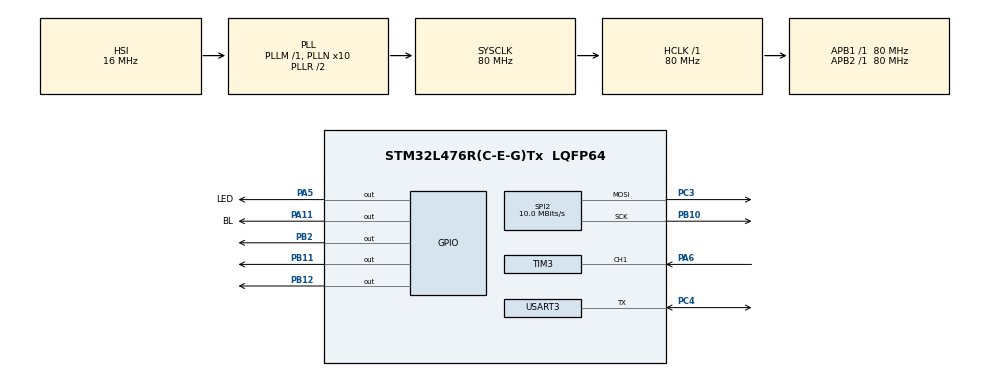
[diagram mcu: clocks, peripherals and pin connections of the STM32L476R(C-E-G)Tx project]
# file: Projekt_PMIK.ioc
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Mcu.Family=STM32L4
Mcu.Name=STM32L476R(C-E-G)Tx
Mcu.Package=LQFP64
NVIC.PriorityGroup=NVIC_PRIORITYGROUP_4
NVIC.RTC_Alarm_IRQn=true\:2\:0\:true\:false\:true\:true\:true\:true
NVIC.RTC_WKUP_IRQn=true\:5\:0\:true\:false\:true\:true\:true\:true
NVIC.TIM3_IRQn=true\:5\:0\:true\:false\:true\:true\:true\:true
PA11.GPIO_Label=BL
PA11.PinState=GPIO_PIN_SET
PA11.Signal=GPIO_Output
PA13\ (JTMS-SWDIO).GPIO_Label=TMS
PA13\ (JTMS-SWDIO).Mode=Serial_Wire
PA13\ (JTMS-SWDIO).Signal=SYS_JTMS-SWDIO
PA14\ (JTCK-SWCLK).GPIO_Label=TCK
PA14\ (JTCK-SWCLK).Mode=Serial_Wire
PA14\ (JTCK-SWCLK).Signal=SYS_JTCK-SWCLK
PA2.GPIO_Label=USART_TX
PA2.GPIO_Mode=GPIO_MODE_AF_PP
PA2.GPIO_ModeDefaultPP=GPIO_MODE_AF_PP
PA2.GPIO_PuPd=GPIO_NOPULL
PA2.GPIO_Speed=GPIO_SPEED_FREQ_VERY_HIGH
PA2.Signal=USART2_TX
PA3.GPIO_Label=USART_RX
PA3.GPIO_Mode=GPIO_MODE_AF_PP
PA3.GPIO_PuPd=GPIO_NOPULL
PA3.GPIO_Speed=GPIO_SPEED_FREQ_VERY_HIGH
PA3.Signal=USART2_RX
PA5.GPIO_Label=LED
PA5.Signal=GPIO_Output
PA6.Signal=S_TIM3_CH1
PB10.Mode=TX_Only_Simplex_Unidirect_Master
PB10.Signal=SPI2_SCK
PB11.Signal=GPIO_Output
PB12.Signal=GPIO_Output
PB2.Signal=GPIO_Output
PC14-OSC32_IN\ (PC14).Mode=LSE-External-Oscillator
PC14-OSC32_IN\ (PC14).Signal=RCC_OSC32_IN
PC15-OSC32_OUT\ (PC15).Mode=LSE-External-Oscillator
PC15-OSC32_OUT\ (PC15).Signal=RCC_OSC32_OUT
PC3.Mode=TX_Only_Simplex_Unidirect_Master
PC3.Signal=SPI2_MOSI
PC4.GPIO_PuPdOD=GPIO_NOPULL
PC4.Mode=Half_duplex(single_wire_mode)
PC4.Signal=USART3_TX
PH0-OSC_IN\ (PH0).Signal=RCC_OSC_IN
PH1-OSC_OUT\ (PH1).Signal=RCC_OSC_OUT
ProjectManager.HeapSize=0x200
ProjectManager.StackSize=0x400
ProjectManager.TargetToolchain=STM32CubeIDE
RCC.ADCFreq_Value=64000000
RCC.AHBFreq_Value=80000000
RCC.APB1Freq_Value=80000000
RCC.APB1TimFreq_Value=80000000
RCC.APB2Freq_Value=80000000
RCC.APB2TimFreq_Value=80000000
RCC.CortexFreq_Value=80000000
RCC.HCLKFreq_Value=80000000
RCC.HSE_VALUE=8000000
RCC.HSI_VALUE=16000000
RCC.MSI_VALUE=4000000
RCC.PLLN=10
RCC.PLLSourceVirtual=RCC_PLLSOURCE_HSI
RCC.PREFETCH_ENABLE=1
RCC.RTCClockSelection=RCC_RTCCLKSOURCE_LSE
RCC.SYSCLKFreq_VALUE=80000000
RCC.SYSCLKSource=RCC_SYSCLKSOURCE_PLLCLK
RCC.USBFreq_Value=64000000
RCC.VCOOutputFreq_Value=160000000
RTC.Alarm-Alarm\ A=RTC_ALARM_A
RTC.Date=1
RTC.Format=RTC_FORMAT_BIN
RTC.Hours=0
RTC.Minutes=0
RTC.Month=RTC_MONTH_JANUARY
RTC.Seconds=0
RTC.WakeUpClock-WakeUp=RTC_WAKEUPCLOCK_CK_SPRE_16BITS
RTC.WakeUpCounter-WakeUp=1
RTC.WeekDay=RTC_WEEKDAY_SUNDAY
RTC.Year=23
SH.S_TIM3_CH1.0=TIM3_CH1,TriggerSource_TI1ED
SH.S_TIM3_CH1.1=TIM3_CH1,Input_Capture1_from_TI1
SPI2.BaudRatePrescaler=SPI_BAUDRATEPRESCALER_8
SPI2.CalculateBaudRate=10.0 MBits/s
SPI2.DataSize=SPI_DATASIZE_8BIT
SPI2.Direction=SPI_DIRECTION_2LINES
SPI2.Mode=SPI_MODE_MASTER
SPI2.NSSPMode=SPI_NSS_PULSE_DISABLE
SPI2.VirtualType=VM_MASTER
TIM3.Channel-Input_Capture1_from_TI1=TIM_CHANNEL_1
TIM3.ICPolarity_CH1=TIM_INPUTCHANNELPOLARITY_FALLING
TIM3.Prescaler=79
USART3.BaudRate=9600
USART3.OverrunDisableParam=ADVFEATURE_OVERRUN_DISABLE
USART3.VirtualMode-Half_duplex(single_wire_mode)=VM_ASYNC
VP_RTC_VS_RTC_Activate.Mode=RTC_Enabled
VP_RTC_VS_RTC_Alarm_A_Intern.Mode=Alarm A
VP_RTC_VS_RTC_Calendar.Mode=RTC_Calendar
VP_RTC_VS_RTC_WakeUp_intern.Mode=WakeUp
VP_TIM3_VS_ClockSourceINT.Mode=Internal
VP_TIM3_VS_ControllerModeReset.Mode=Reset Mode
board=NUCLEO-L476RG

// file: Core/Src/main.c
/* USER CODE BEGIN Header */
/**
  ******************************************************************************
  * @file           : main.c
  * @brief          : Main program body
  ******************************************************************************
  * @attention
  *
  *@author	:	Mateusz Berliński
  *
  *@title	:	Zegar
  *
  *@description:
  *		Tematem projektu jest zegar. W normalnej pracy będzie wyświetlał aktualną godzinę i datę.
  *		Będzie można go przełączyć na wyświetlanie temperatury. Sterowanie odbywa się przez pilot podczerwieni.
  *		Dane pokazywane są na wyswietlaczu tft przy pomocy SPI. Na zegarze można ustawiać date, godzinę i alarmy.
  *		Alarmy włączają brzęczyk, a na ekranie pojawia się komunikat.
  *
  *
  * Copyright (c) 2022 STMicroelectronics.
  * All rights reserved.
  *
  * This software is licensed under terms that can be found in the LICENSE file
  * in the root directory of this software component.
  * If no LICENSE file comes with this software, it is provided AS-IS.
  *
  ******************************************************************************
  */
/* USER CODE END Header */
#include "main.h"
#include "rtc.h"
#include "spi.h"
#include "tim.h"
#include "usart.h"
#include "gpio.h"

/* USER CODE BEGIN Includes */
#include "st7735.h"
#include "fonts.h"
#include <stdio.h>
#include "ir.h"
#include "ds18b20.h"
#include <stdbool.h>
/* USER CODE END Includes */

/* USER CODE BEGIN PTD */
HAL_StatusTypeDef HAL_RTC_GetTime(RTC_HandleTypeDef *hrtc, RTC_TimeTypeDef *sTime, uint32_t Format);
HAL_StatusTypeDef HAL_RTC_GetDate(RTC_HandleTypeDef *hrtc, RTC_DateTypeDef *sDate, uint32_t Format);
HAL_StatusTypeDef HAL_RTC_SetTime(RTC_HandleTypeDef *hrtc, RTC_TimeTypeDef *sTime, uint32_t Format);
HAL_StatusTypeDef HAL_RTC_GetAlarm(RTC_HandleTypeDef *hrtc, RTC_AlarmTypeDef *sAlarm, uint32_t Alarm, uint32_t Format);

/* USER CODE END PTD */

/* USER CODE BEGIN PV */
RTC_TimeTypeDef time;
RTC_DateTypeDef date;
RTC_AlarmTypeDef alarm;
char strTime[20];//przechowuje czas jako tablice char
char strDate[20];//przechowuje date jako tablice char
char strTemp[20];//przechowuje temperature jako tablice char
char strColored[10];//przechowuje zaznaczone wartości jako tablice char
uint8_t Select_write = 0;//wybór danych do wyświetlenia 0-czas, 1-temperatura
bool Enable_change = false;//flaga czy jest zmieniany czas
bool Enable_alarm = false;//flaga czy ustawiany jest alarm
bool Alarm_on = false;//flaga czy włączony jest alarm
RTC_TimeTypeDef new_time = {0};//wartość czasu którą zmieniamy
RTC_DateTypeDef new_date = {0};//data którą zmieniamy
RTC_AlarmTypeDef new_alarm = {0};//alarm który zmieniamy
uint8_t Select_time_date = 0;//wybór wartości czasu 0-godziny, 1-minuty, 2-sekundy, 3-dni, 4-miesiace, 5-lata
uint8_t Select_alarm_time = 0;//wybór wartości alarmu 0-godziny, 1-minuty
uint32_t last_ms = 0;//przechowuje czas z Systick

/* USER CODE END PV */

void SystemClock_Config(void);

/* USER CODE BEGIN 0 */

/**
  * @brief Działanie alarmu
  * @retval None
  */
void Active_alarm(uint8_t remote)
{
	uint32_t now = HAL_GetTick();
	if(now - last_ms >= 100) {
		HAL_GPIO_TogglePin(LED_GPIO_Port, LED_Pin);//Miga dioda
		last_ms = now;
	}

	if(remote == IR_BACK){//Wyłączenie alarmu
		Alarm_on = false;
		HAL_GPIO_WritePin(LED_GPIO_Port, LED_Pin, RESET);
	}

}

void Turn_on_alarm(void)
{
	Alarm_on = true;
}

/**
  * @brief Zapisanie ostatnich wartości zegara
  * @retval None
  */

void Save_last_time(void)
{
	new_time.Hours = time.Hours;
	new_time.Minutes = time.Minutes;
	new_time.Seconds = time.Seconds;
	new_date.Date = date.Date;
	new_date.Month = date.Month;
	new_date.Year = date.Year;
}

/**
  * @brief Przechowuje wartości ustawionego alarmu
  * @retval None
  */

void Save_last_alarm(void)
{
	HAL_RTC_GetAlarm(&hrtc, &alarm, RTC_ALARM_A, RTC_FORMAT_BIN);
	new_alarm.AlarmTime.Hours = alarm.AlarmTime.Hours;
	new_alarm.AlarmTime.Minutes = alarm.AlarmTime.Minutes;
}

/**
  * @brief Zaznacza wybraną wartość zegara
  * @retval None
  */
void Color_Selected(void)
{
	if(Select_time_date == 0){
		sprintf(strColored,"%02d",new_time.Hours);
		ST7735_WriteString(15, 35, strColored, Font_16x26, ST7735_BLACK,ST7735_BLACK);
		ST7735_WriteString(15, 35, strColored, Font_16x26, ST7735_WHITE,ST7735_BLACK);
	}
	else if(Select_time_date == 1){
		sprintf(strColored,"%02d",new_time.Minutes);
		ST7735_WriteString(63, 35, strColored, Font_16x26, ST7735_BLACK,ST7735_BLACK);
		ST7735_WriteString(63, 35, strColored, Font_16x26, ST7735_WHITE,ST7735_BLACK);
	}
	else if(Select_time_date == 2){
		sprintf(strColored,"%02d",new_time.Seconds);
		ST7735_WriteString(111, 35, strColored, Font_16x26, ST7735_BLACK,ST7735_BLACK);
		ST7735_WriteString(111, 35, strColored, Font_16x26, ST7735_WHITE,ST7735_BLACK);
	}
	else if(Select_time_date == 3){
		sprintf(strColored,"%02d",new_date.Date);
		ST7735_WriteString(25, 67, strColored, Font_11x18, ST7735_BLACK,ST7735_BLACK);
		ST7735_WriteString(25, 67, strColored, Font_11x18, ST7735_WHITE,ST7735_BLACK);
	}
	else if(Select_time_date == 4){
		sprintf(strColored,"%02d",new_date.Month);
		ST7735_WriteString(58, 67, strColored, Font_11x18, ST7735_BLACK,ST7735_BLACK);
		ST7735_WriteString(58, 67, strColored, Font_11x18, ST7735_WHITE,ST7735_BLACK);
	}
	else if(Select_time_date == 5){
		sprintf(strColored,"20%02d",new_date.Year);
		ST7735_WriteString(91, 67, strColored, Font_11x18, ST7735_BLACK,ST7735_BLACK);
		ST7735_WriteString(91, 67, strColored, Font_11x18, ST7735_WHITE,ST7735_BLACK);
	}
}

/**
  * @brief Zwiększa wybraną wartość zegara
  * @retval None
  */
void Plus_Time(void)
{
	if(Select_time_date == 0)
		new_time.Hours = (new_time.Hours +1) % 24;
	else if(Select_time_date == 1)
		new_time.Minutes = (new_time.Minutes +1) % 60;
	else if(Select_time_date == 2)
		new_time.Seconds = (new_time.Seconds +1) % 60;
	else if(Select_time_date == 3)
		new_date.Date = new_date.Date % 30 + 1;
	else if(Select_time_date == 4)
		new_date.Month = new_date.Month % 11 + 1;
	else if(Select_time_date == 5)
		new_date.Year = (new_date.Year +1) % 100;
}

/**
  * @brief Zmniejsza wybraną wartość zegara
  * @retval None
  */
void Minus_Time(void)
{
	if(Select_time_date == 0){
		if(new_time.Hours == 0) new_time.Hours = 24;
		new_time.Hours = (new_time.Hours -1);
	}
	else if(Select_time_date == 1){
		if(new_time.Minutes == 0) new_time.Minutes = 60;
		new_time.Minutes = (new_time.Minutes -1);
	}
	else if(Select_time_date == 2){
		if(new_time.Seconds == 0) new_time.Seconds = 60;
		new_time.Seconds = (new_time.Seconds -1);
	}
	else if(Select_time_date == 3){
		new_date.Date = (new_date.Date -1);
		if(new_date.Date == 0) new_date.Date = 31;
	}
	else if(Select_time_date == 4){
		new_date.Month = (new_date.Month -1);
		if(new_date.Month == 0) new_date.Month = 12;
	}
	else if(Select_time_date == 5){
		if(new_date.Year == 0) new_date.Year = 100;
		new_date.Year = (new_date.Year -1);
	}
}

/**
  * @brief Zmienianie czasu i daty
  * @retval None
  */
void Change_Time(uint8_t remote)
{
	if(remote == IR_BACK)//anulowanie zmieniania czasu
		Enable_change = false;

	if(remote == IR_PLUS){
		Plus_Time();
	}

	if(remote == IR_MINUS){
		Minus_Time();
	}

	if(remote == IR_FORWARD)//przełącza wartość którą zmieniamy
		Select_time_date = (Select_time_date +1) % 6;

	if(remote == IR_REWIND){//przełącza wartość którą zmieniamy
		if(Select_time_date == 0) Select_time_date = 6;
		Select_time_date = (Select_time_date -1);
	}

	Color_Selected();

	if(remote == IR_PLAY){//Wczytuje zmienioną wartość do zegara
		HAL_RTC_SetTime(&hrtc, &new_time, RTC_FORMAT_BIN);
		HAL_RTC_SetDate(&hrtc, &new_date, RTC_FORMAT_BIN);
		Select_time_date = 0;
		Enable_change = false;
	}
}

/**
  * @brief Ustawianie godziny i minuty alarmu
  * @retval None
  */
void Set_Alarm(uint8_t remote)
{
	if(remote == IR_BACK)//anuluje ustawianie alarmu bez zmiany
		Enable_alarm = false;

	if(remote == IR_PLUS){//zwiększa wybraną wartość
		if(Select_alarm_time == 0)
			new_alarm.AlarmTime.Hours = (new_alarm.AlarmTime.Hours +1) % 24;
		else if(Select_alarm_time == 1)
			new_alarm.AlarmTime.Minutes = (new_alarm.AlarmTime.Minutes +1) % 60;
	}

	if(remote == IR_MINUS){//zmniejsza wybraną wartość
		if(Select_alarm_time == 0){
			if(new_alarm.AlarmTime.Hours == 0) new_alarm.AlarmTime.Hours = 24;
			new_alarm.AlarmTime.Hours = (new_alarm.AlarmTime.Hours -1);
		}
		else if(Select_alarm_time == 1){
			if(new_alarm.AlarmTime.Minutes == 0) new_alarm.AlarmTime.Minutes = 60;
			new_alarm.AlarmTime.Minutes = (new_alarm.AlarmTime.Minutes -1);
		}
	}

	if(remote == IR_FORWARD)//przełącza wartość którą zmieniamy
		Select_alarm_time = (Select_alarm_time +1) % 2;

	if(remote == IR_REWIND){//przełącza wartość którą zmieniamy
		if(Select_alarm_time == 0) Select_alarm_time = 2;
		Select_alarm_time = (Select_alarm_time -1);
	}

	if(remote == IR_CANCEL){//Ustawia alarm
		HAL_RTC_SetAlarm(&hrtc, &new_alarm, RTC_FORMAT_BIN);
		Select_alarm_time = 0;
		Enable_alarm = false;
	}

	sprintf(strTime,"%02d:%02d:%02d", new_alarm.AlarmTime.Hours, new_alarm.AlarmTime.Minutes, new_alarm.AlarmTime.Seconds);
	ST7735_WriteString(15, 35, strTime, Font_16x26, ST7735_WHITE,ST7735_BLACK);

	if(Select_alarm_time == 0){//miga wartością którą zmieniamy
		sprintf(strColored,"%02d",new_alarm.AlarmTime.Hours);
		ST7735_WriteString(15, 35, strColored, Font_16x26, ST7735_BLACK,ST7735_BLACK);
	}
	else if(Select_alarm_time == 1){
		sprintf(strColored,"%02d",new_alarm.AlarmTime.Minutes);
		ST7735_WriteString(63, 35, strColored, Font_16x26, ST7735_BLACK,ST7735_BLACK);
	}
}

/**
  * @brief Wyświetla "Hello" na wyświetlaczu
  * @retval None
  */
void Hello(void)
{
	 ST7735_FillScreen(ST7735_BLACK);
	 ST7735_WriteString(35, 51, "Hello", Font_16x26, ST7735_WHITE,ST7735_BLACK);
	 HAL_Delay(500);
	 ST7735_FillScreen(ST7735_BLACK);
}

/**
  * @brief Pobiera czas z RTC i wypisuje na wyświetlacz
  * @retval None
  */
void Write_TimeDate(void)
{
	HAL_RTC_GetTime(&hrtc, &time, RTC_FORMAT_BIN);
	HAL_RTC_GetDate(&hrtc, &date, RTC_FORMAT_BIN);

	sprintf(strTime,"%02d:%02d:%02d", time.Hours, time.Minutes, time.Seconds);//to one string
	sprintf(strDate,"%02d %02d 20%02d", date.Date, date.Month, date.Year);

	ST7735_WriteString(15, 35, strTime, Font_16x26, ST7735_WHITE,ST7735_BLACK);
	ST7735_WriteString(25, 67, strDate, Font_11x18, ST7735_WHITE,ST7735_BLACK);
}

/**
  * @brief Wywołuje pomiar temperatury i wypisuje temperaturę na wyświetlacz
  * @retval None
  */
void Write_Temp(void)
{
	  ds18b20_start_measure(NULL);

	  float temp = ds18b20_get_temp(NULL);
	  if (temp >= 80.0f)
	    sprintf(strTemp, "wait...");
	  else
	    sprintf(strTemp, " %.1f`C", temp);

	  ST7735_WriteString(20, 51, strTemp, Font_16x26, ST7735_WHITE,ST7735_BLACK);
}

/**
  * @brief Obsługa Input capture przy wykryciu zmian na diodzie podczerwieni
  * @retval None
  */
void HAL_TIM_IC_CaptureCallback(TIM_HandleTypeDef *htim)
{
  if (htim == &htim3)
  {
    switch (HAL_TIM_GetActiveChannel(&htim3))
    {
      case HAL_TIM_ACTIVE_CHANNEL_1:
        ir_tim_interrupt();
        break;
      default:
        break;
    }
  }
}

/**
  * @brief Wywołuje wyświetlanie tych wartości które wybraliśmy(czas albo temperatura)
  * @retval None
  */
void Write_selected(uint8_t select)
{
	if(select == 0)
	{
		Write_TimeDate();
	}
	else if(select == 1)
	{
		Write_Temp();
	}
}

/**
  * @brief Ustala co jest wyświetlane
  * @retval None
  */
void Write_screen(uint8_t remote)
{
	if(remote == IR_ONOFF){//Włączanie/wyłączanie podświetlenia wyświetlacza
		HAL_GPIO_TogglePin(BL_GPIO_Port, BL_Pin);
	}
	else if(remote == IR_MENU){//zmiana między wyświetlaniem czasu a temperatury
		Select_write = (Select_write + 1) % 2;
		ST7735_FillScreen(ST7735_BLACK);
	}
	else if((remote == IR_PLAY) & (Select_write == 0)){//rozpoczęcie zmiany czasu
		Enable_change = true;
		Save_last_time();
	}
	else if((remote == IR_CANCEL) & (Select_write == 0)){//rozpoczęcie ustawiania alarmu
		Enable_alarm = true;
		Save_last_alarm();
		ST7735_FillScreen(ST7735_BLACK);
	}

	if(!Enable_change & !Enable_alarm)//jeśli nie zmieniamy czasu, ani alarmu to przekazuje co aktualnie jest wybrane do wyświetlenia
		Write_selected(Select_write);
}

/* USER CODE END 0 */

int main(void)
{

  /* MCU Configuration--------------------------------------------------------*/

  /* Reset of all peripherals, Initializes the Flash interface and the Systick. */
  HAL_Init();

  /* Configure the system clock */
  SystemClock_Config();

  /* Initialize all configured peripherals */
  MX_GPIO_Init();
  MX_SPI2_Init();
  MX_RTC_Init();
  MX_TIM3_Init();
  MX_USART3_UART_Init();
  /* USER CODE BEGIN 2 */
  ir_init();
  ST7735_Init();
  Hello();

  HAL_RTCEx_SetWakeUpTimer_IT(&hrtc, 2048, RTC_WAKEUPCLOCK_RTCCLK_DIV16);//Ustawienie przerwania co 1s

  /* USER CODE END 2 */

  /* Infinite loop */
  /* USER CODE BEGIN WHILE */
  while (1)
  {
	  if(Alarm_on)
		  Active_alarm(ir_read());
	  else if(Enable_change)
		  Change_Time(ir_read());
	  else if(Enable_alarm)
		  Set_Alarm(ir_read());
	  else
		  __WFI();
    /* USER CODE END WHILE */

  }
}

void SystemClock_Config(void)
{
  RCC_OscInitTypeDef RCC_OscInitStruct = {0};
  RCC_ClkInitTypeDef RCC_ClkInitStruct = {0};

  /** Configure the main internal regulator output voltage
  */
  if (HAL_PWREx_ControlVoltageScaling(PWR_REGULATOR_VOLTAGE_SCALE1) != HAL_OK)
  {
    Error_Handler();
  }

  /** Configure LSE Drive Capability
  */
  HAL_PWR_EnableBkUpAccess();
  __HAL_RCC_LSEDRIVE_CONFIG(RCC_LSEDRIVE_LOW);

  /** Initializes the RCC Oscillators according to the specified parameters
  * in the RCC_OscInitTypeDef structure.
  */
  RCC_OscInitStruct.OscillatorType = RCC_OSCILLATORTYPE_HSI|RCC_OSCILLATORTYPE_LSE;
  RCC_OscInitStruct.LSEState = RCC_LSE_ON;
  RCC_OscInitStruct.HSIState = RCC_HSI_ON;
  RCC_OscInitStruct.HSICalibrationValue = RCC_HSICALIBRATION_DEFAULT;
  RCC_OscInitStruct.PLL.PLLState = RCC_PLL_ON;
  RCC_OscInitStruct.PLL.PLLSource = RCC_PLLSOURCE_HSI;
  RCC_OscInitStruct.PLL.PLLM = 1;
  RCC_OscInitStruct.PLL.PLLN = 10;
  RCC_OscInitStruct.PLL.PLLP = RCC_PLLP_DIV7;
  RCC_OscInitStruct.PLL.PLLQ = RCC_PLLQ_DIV2;
  RCC_OscInitStruct.PLL.PLLR = RCC_PLLR_DIV2;
  if (HAL_RCC_OscConfig(&RCC_OscInitStruct) != HAL_OK)
  {
    Error_Handler();
  }

  /** Initializes the CPU, AHB and APB buses clocks
  */
  RCC_ClkInitStruct.ClockType = RCC_CLOCKTYPE_HCLK|RCC_CLOCKTYPE_SYSCLK
                              |RCC_CLOCKTYPE_PCLK1|RCC_CLOCKTYPE_PCLK2;
  RCC_ClkInitStruct.SYSCLKSource = RCC_SYSCLKSOURCE_PLLCLK;
  RCC_ClkInitStruct.AHBCLKDivider = RCC_SYSCLK_DIV1;
  RCC_ClkInitStruct.APB1CLKDivider = RCC_HCLK_DIV1;
  RCC_ClkInitStruct.APB2CLKDivider = RCC_HCLK_DIV1;

  if (HAL_RCC_ClockConfig(&RCC_ClkInitStruct, FLASH_LATENCY_4) != HAL_OK)
  {
    Error_Handler();
  }
}

void Error_Handler(void)
{
  __disable_irq();
  while (1)
  {
  }
}
